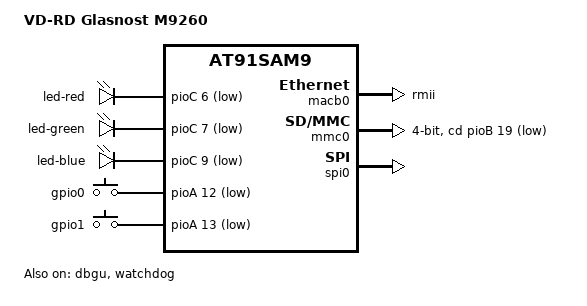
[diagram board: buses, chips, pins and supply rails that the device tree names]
// SPDX-License-Identifier: GPL-2.0-or-later
/*
 * at91sam9260-glasnost-m9260.dts - Device Tree for the VD-RD Glasnost M9260 board.
 *
 * Local test/bring-up devicetree only: per doc/README.vd-rd, the real
 * devicetree for vd-rd boards is maintained in a separate coordinator repo
 * shared with the Linux kernel tree. This file lets glasnost_m9260 be built
 * and tested from this fork in the meantime, via CONFIG_OF_UPSTREAM.
 */
/dts-v1/;
#include "at91sam9260.dtsi"

/ {
	model = "VD-RD Glasnost M9260";
	compatible = "vd-rd,glasnost-m9260", "atmel,at91sam9260", "atmel,at91sam9";

	aliases {
		serial0 = &dbgu;
	};

	chosen {
		stdout-path = &dbgu;
	};

	clocks {
		slow_xtal: slow_xtal {
			clock-frequency = <32768>;
		};

		main_xtal: main_xtal {
			clock-frequency = <18432000>;
		};
	};

	leds {
		compatible = "gpio-leds";

		led_red: led-red {
			label = "led-red";
			gpios = <&pioC 6 GPIO_ACTIVE_LOW>;
		};

		led_green: led-green {
			label = "led-green";
			gpios = <&pioC 7 GPIO_ACTIVE_LOW>;
		};

		led_blue: led-blue {
			label = "led-blue";
			gpios = <&pioC 9 GPIO_ACTIVE_LOW>;
		};
	};

	gpio-keys {
		compatible = "gpio-keys";

		gpio0 {
			label = "gpio0";
			gpios = <&pioA 12 GPIO_ACTIVE_LOW>;
			linux,code = <0x100>;
		};

		gpio1 {
			label = "gpio1";
			gpios = <&pioA 13 GPIO_ACTIVE_LOW>;
			linux,code = <0x101>;
		};
	};
};

/*
 * CCF-style clock subtree for U-Boot's CLK_AT91 driver
 * (drivers/clk/at91/compat.c), which binds the PMC as a plain bus container
 * and expects one child node per clock. The upstream-synced at91sam9260.dtsi
 * this file includes instead describes the PMC with the flat
 * "#clock-cells = <2>" scheme (`<&pmc TYPE INDEX>`), which that driver does
 * not implement, so without this nothing resolves a clock at all.
 *
 * Only clocks that both have a matching driver and a consumer on this board
 * are described. compat.c has no match for the at91rm9200 main-osc/main/pll
 * or at91sam9260 slow-clock compatibles, and its master-clock driver simply
 * reports gd->arch.mck_rate_hz (computed by at91_clock_init() from the live
 * PMC registers) rather than walking parent clocks - so describing that
 * upstream chain here would bind nothing and be read by nobody.
 */
&pmc {
	mck: masterck {
		compatible = "atmel,at91rm9200-clk-master";
		#clock-cells = <0>;
	};

	periphck: periphck {
		compatible = "atmel,at91rm9200-clk-peripheral";
		#address-cells = <1>;
		#size-cells = <0>;
		clocks = <&mck>;

		pioA_clk: pioA_clk@2 {
			#clock-cells = <0>;
			reg = <2>;
		};

		pioB_clk: pioB_clk@3 {
			#clock-cells = <0>;
			reg = <3>;
		};

		pioC_clk: pioC_clk@4 {
			#clock-cells = <0>;
			reg = <4>;
		};

		mci0_clk: mci0_clk@9 {
			#clock-cells = <0>;
			reg = <9>;
		};

		spi0_clk: spi0_clk@12 {
			#clock-cells = <0>;
			reg = <12>;
		};

		macb0_clk: macb0_clk@21 {
			#clock-cells = <0>;
			reg = <21>;
		};
	};
};

&dbgu {
	clocks = <&mck>;
	status = "okay";
};

&macb0 {
	phy-mode = "rmii";
	clocks = <&macb0_clk>, <&macb0_clk>;
	status = "okay";
};

&mmc0 {
	pinctrl-names = "default";
	/* Assuming slot0, 4-bit bus - TODO confirm vs schematic */
	pinctrl-0 = <&pinctrl_mmc0_clk &pinctrl_mmc0_slot0_cmd_dat0
		     &pinctrl_mmc0_slot0_dat1_3>;
	bus-width = <4>;
	cd-gpios = <&pioB 19 GPIO_ACTIVE_LOW>;
	clocks = <&mci0_clk>;
	status = "okay";
};

&spi0 {
	clocks = <&spi0_clk>;
	status = "okay";
};

&watchdog {
	status = "okay";
};

&pioA {
	clocks = <&pioA_clk>;
};

&pioB {
	clocks = <&pioB_clk>;
};

&pioC {
	clocks = <&pioC_clk>;
};
